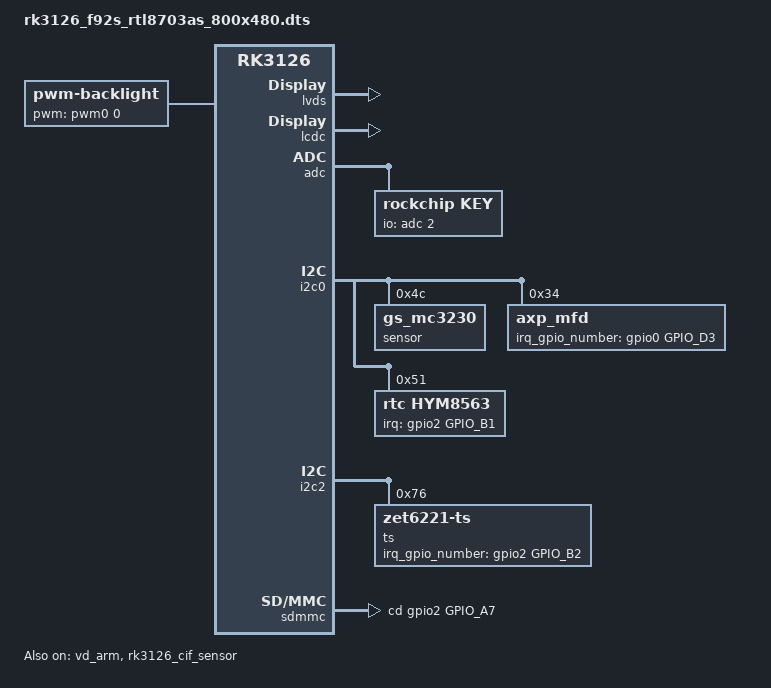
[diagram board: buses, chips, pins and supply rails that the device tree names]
/dts-v1/;

#include "rk3126.dtsi"
#include "lcd-86v-rgb800x480.dtsi"
#include "rk3126-cif-sensor.dtsi"
#include "rk312x-sdk.dtsi"

/ {
	 compatible = "rockchip,rk3126";
        backlight: backlight {
                compatible = "pwm-backlight";
                pwms = <&pwm0 0 25000>;
				brightness-levels = <30 30 30 30 30 30 30 30 30 30 30 30 30 30 30 30 30 30 30 30 30 30 30 30 30 30 30 30 30 30 30 31 32 33 34 35 36 37 38 39 40 41 42 43 44 45 46 47 48 49 50 51 52 53 54 55 56 57 58 59 60 61 62 63 64 65 66 67 68 69 70 71 72 73 74 75 76 77 78 79 80 81 82 83 84 85 86 87 88 89 90 91 92 93 94 95 96 97 98 99 100 101 102 103 104 105 106 107 108 109 110 111 112 113 114 115 116 117 118 119 120 121 122 123 124 125 126 127 128 129 130 131 132 133 134 135 136 137 138 139 140 141 142 143 144 145 146 147 148 149 150 151 152 153 154 155 156 157 158 159 160 161 162 163 164 165 166 167 168 169 170 171 172 173 174 175 176 177 178 179 180 181 182 183 184 185 186 187 188 189 190 191 192 193 194 195 196 197 198 199 200 201 202 203 204 205 206 207 208 209 210 211 212 213 214 215 216 217 218 219 220 221 222 223 224 225 226 227 228 229 230 231 232 233 234 235 236 237 238 239 240 241 242 243 244 245 246 247 248 249 250 251 252 253 254 255>;
			  default-brightness-level = <128>;
               // enable-gpios = <&gpio3 GPIO_C1 GPIO_ACTIVE_HIGH>;
        };

	/*gpio_poweroff {
		compatible = "gpio-poweroff";
		gpios = <&gpio1 GPIO_A2 GPIO_ACTIVE_LOW>;
	};*/

	usb_control {
		compatible = "rockchip,rk3126-usb-control";
		//host_drv_gpio = <&gpio2 GPIO_B4 GPIO_ACTIVE_LOW>;
		//otg_drv_gpio = <&gpio2 GPIO_B6 GPIO_ACTIVE_LOW>; 

		rockchip,remote_wakeup;
		rockchip,usb_irq_wakeup;
		};
		
        wireless-wlan {
        compatible = "wlan-platdata";

        wifi_chip_type = "rtl8723bs_vq0";
        sdio_vref = <1800>; //1800mv or 3300mv

        //power_ctrl_by_pmu;
       // pmu_regulator = "act_ldo3";
       // pmu_enable_level = <1>; //1->HIGH, 0->LOW

        //WIFI,wifi33_gpio = <&gpio0 GPIO_A1 GPIO_ACTIVE_LOW>;  // NUM:1 //wifi33
        //WIFI,poweren_gpio = <&gpio1 GPIO_B3 GPIO_ACTIVE_LOW>; // chip_en
        //WIFI,host_wake_irq = <&gpio0 GPIO_A0 IRQ_TYPE_LEVEL_LOW>;
        //WIFI,reset_gpio = <&gpio0 GPIO_A2 GPIO_ACTIVE_LOW>;

        status = "okay";
    }; 



/*	wireless-bluetooth {
		compatible = "bluetooth-platdata";

		uart_rts_gpios = <&gpio1 GPIO_B3 GPIO_ACTIVE_LOW>;
		pinctrl-names = "default","rts_gpio";
		pinctrl-0 = <&uart1_rts>;
		pinctrl-1 = <&uart1_rts_gpio>;

		//BT,power_gpio = <&gpio3 GPIO_D2 GPIO_ACTIVE_HIGH>;
		//BT,reset_gpio = <&gpio3 GPIO_D1 GPIO_ACTIVE_HIGH>;
		//BT,wake_gpio = <&gpio0 GPIO_B0 GPIO_ACTIVE_HIGH>;
		//BT,wake_host_irq = <&gpio3 GPIO_C6 GPIO_ACTIVE_LOW>;

		status = "okay";
	};*/




    
    	rockchip_suspend {
                rockchip,ctrbits = <
                        (0
                        |RKPM_CTR_PWR_DMNS
                        |RKPM_CTR_GTCLKS
                        |RKPM_CTR_PLLS
                        |RKPM_CTR_ARMOFF_LPMD
                        |RKPM_CTR_IDLESRAM_MD
                        |RKPM_CTR_DDR
                        |RKPM_CTR_VOLTS
						|RKPM_CTR_BUS_IDLE
                        
                        )
                >;
               rockchip,pmic-suspend_gpios = <
                       GPIO3_C1 >;
        };
	
    chosen {
	bootargs = "vmalloc=496M cma=4M rockchip_jtag";
       };

};


&vd_arm {
	regulator_name = "vdd_arm";
	status="okay";
	pd_ddr {
		 clk_ddr {
			operating-points = <
				/* KHz    uV */
				100000 1250000
				200000 1250000
				300000 1250000
				400000 1250000
				//533000 1250000
				>;

			freq-table = <
				/*status		freq(KHz)*/
				SYS_STATUS_NORMAL	400000
				SYS_STATUS_SUSPEND	100000
				//SYS_STATUS_VIDEO_1080P  240000
				//SYS_STATUS_VIDEO_4K     360000
				SYS_STATUS_PERFORMANCE  400000 //528000
				//SYS_STATUS_DUALVIEW	400000
				SYS_STATUS_BOOST	400000
				//SYS_STATUS_ISP		533000
				>;
			auto-freq-table = <
				240000
				324000
				396000
				396000 //528000
				>;
			auto-freq=<0>;
			status="okay";
			};
		};
		
	pd_gpu {
		 clk_gpu {
			operating-points = <
				/* KHz    uV */
				200000 1100000
				300000 1100000
				400000  1150000
				//480000  1250000
				>;
				status = "okay";
			};
		};			

	pd_core {
		 clk_core {
			operating-points = <
				/* KHz    uV */
				216000 1150000
				408000 1150000
				600000 1200000
				696000 1250000
				816000 1300000
				1008000 1350000
				1200000 1425000
				>;
			virt-temp-limit-1-cpu-busy = <
			/* target-temp	limit-freq */
				75	1008000
				85	1200000
				95	1200000
				100	1200000
				>;
			virt-temp-limit-2-cpu-busy = <
			/* target-temp	limit-freq */
				75	912000
				85	1008000
				95	1104000
				100	1200000
				>;
			virt-temp-limit-3-cpu-busy = <
			/* target-temp	limit-freq */
				75	816000
				85	912000
				95	100800
				100	110400
				>;
			virt-temp-limit-4-cpu-busy = <
			/* target-temp	limit-freq */
				75	816000
				85	912000
				95	100800
				100	110400
				>;
			temp-limit-enable = <1>;
			target-temp = <85>;
			status = "okay";
		};
	 };
};

&vd_logic {
			regulator_name = "vdd_logic";
			status = "disabled";
};

&fb {
	rockchip,disp-mode = <NO_DUAL>;
	rockchip,uboot-logo-on = <1>;
};

&rk_screen {
	display-timings = <&disp_timings>;
};

&lvds {
	status = "okay";

	pinctrl-names = "lcdc";
	pinctrl-0 = <&lcdc0_lcdc_d>;
};

&lcdc {
	status = "okay";

	backlight = <&backlight>;
	pinctrl-names = "default", "gpio";
	pinctrl-0 = <&lcdc0_lcdc>;
	pinctrl-1 = <&lcdc0_gpio>;

	rockchip,fb-win-map = <FB_DEFAULT_ORDER>;

	power_ctr: power_ctr {
		rockchip,debug = <0>;
		lcd_en: lcd_en {
			rockchip,power_type = <GPIO>;
			gpios = <&gpio0 GPIO_A2 GPIO_ACTIVE_LOW>;             //43
			rockchip,delay = <10>;
		};
	};
};

&hdmi {
        status = "disabled";
};

&adc {
	status = "okay";

	key: key {
		compatible = "rockchip,key";
		io-channels = <&adc 2>;


		back-key {
			linux,code = <158>;
			label = "back";
			rockchip,adc_value = <1>;
		};

		vol-down-key {
			linux,code = <114>;
			label = "volume down";

			rockchip,adc_value = <512>;

		};

		//power-key {
		//	gpios = <&gpio1 GPIO_A4 GPIO_ACTIVE_LOW>;
			//linux,code = <116>;
			//label = "power";
			//gpio-key,wakeup;
		//};

	};
	
        adc-battery {
		status = "disabled";
                compatible = "rk30-adc-battery";
                io-channels = <&adc 0>, <&adc 3>;
                dc_det_gpio = <&gpio2 GPIO_B1 GPIO_ACTIVE_LOW>;
                auto_calibration = <0>;
                ref_voltage = <3300>;
                //bat_low_gpio = <&gpio0 GPIO_A7 GPIO_ACTIVE_LOW>;
                //chg_ok_gpio = <&gpio0 GPIO_B1 GPIO_ACTIVE_HIGH>;
                bat_table = <0 0 0 0 100 100
                 3500 3619 3678 3734 3742 3783 3813 3884 3968 4110 4220
                 3750 3710 3770 3830 3850 3880 3910 3980 4060 4240 4300
                >;
                is_dc_charge = <1>;
                is_usb_charge = <1>;

        };
	
};

&i2c0 {
	status = "okay";
	sensor@4c {
		compatible = "gs_mc3230";
		reg = <0x4c>;
		type = <SENSOR_TYPE_ACCEL>;
		//irq-gpio = <&gpio2 GPIO_B2 IRQ_TYPE_LEVEL_LOW>;
		irq_enable = <0>;
		poll_delay_ms = <20>;
		layout = <1>;
		status = "okay";
	};
	
        axp_mfd: axp_mfd@34 {
                compatible = "axp_mfd";
                reg = <0x34>;
                irq_gpio_number = <&gpio0 GPIO_D3 8>;
                //irq-gpio = <&gpio1 GPIO_A2 8>;
                status = "okay";
        };
	rtc@51 {
        	compatible = "rtc,hym8563";
        	reg = <0x51>;
                status = "okay";
                irq_gpio = <&gpio2 GPIO_B1 IRQ_TYPE_EDGE_FALLING>;
    };  
};



&i2c2 {
	status = "okay";
	
		ts@76 {
		compatible = "zet6221-ts";
		reg = <0x76>;
		pinctrl-names = "default", "gpio";
		pinctrl-0 = <&i2c0_sda &i2c0_scl>;
		pinctrl-1 = <&i2c0_gpio>;
		//gpios = <&gpio0 GPIO_A1 GPIO_ACTIVE_LOW>, <&gpio0 GPIO_A0 GPIO_ACTIVE_LOW>;
		irq_gpio_number = <&gpio2 GPIO_B2 IRQ_TYPE_LEVEL_LOW>;
		//rst_gpio_number = <&gpio1 GPIO_A0 GPIO_ACTIVE_LOW>;
	};
			

};


&sdmmc {
	cd-gpios = <&gpio2 GPIO_A7 GPIO_ACTIVE_HIGH>;/*CD GPIO*/
	//status = "disabled";
	status = "okay";
};


/*&uart1 {
	status = "okay";
	dma-names = "!tx", "!rx";
	pinctrl-0 = <&uart1_xfer &uart1_cts>;
};*/


&codec {
	//spk_ctl_io = <&gpio1 GPIO_B0 GPIO_ACTIVE_HIGH>;
	spk-mute-delay = <200>;
	hp-mute-delay = <100>;
	rk312x_for_mid = <1>;
	is_rk3128 = <0>;
	spk_volume = <25>;
	hp_volume = <25>;
	capture_volume = <26>;
	gpio_debug = <0>;
	codec_hp_det = <0>;
};



&dwc_control_usb {
	usb_uart {
		//status = "okay";
		status = "disabled";
	};
};

&rk3126_cif_sensor{
	status = "okay";
};

&gmac {
        status = "disabled";
};
